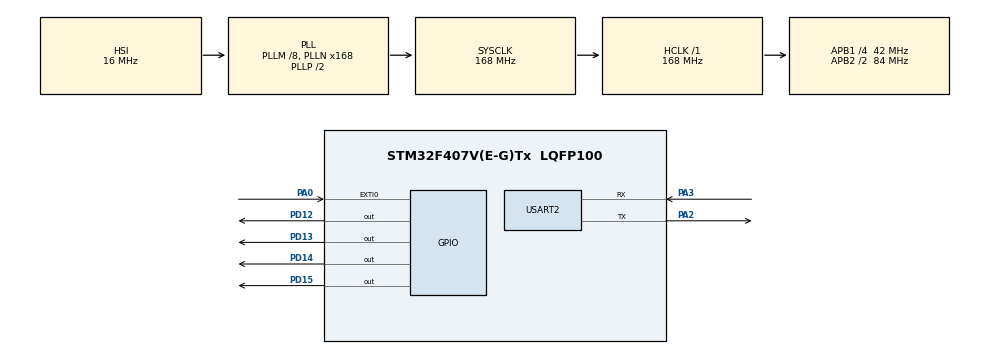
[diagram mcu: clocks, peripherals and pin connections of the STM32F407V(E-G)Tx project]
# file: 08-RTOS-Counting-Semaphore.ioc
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FREERTOS.CountingSemaphores01=CountingSem01,2,Dynamic,NULL,0
FREERTOS.Tasks01=Task1,24,128,StartTask1,Default,NULL,Dynamic,NULL,NULL;Task02,24,128,StartTask02,Default,NULL,Dynamic,NULL,NULL;Task03,24,128,StartTask03,Default,NULL,Dynamic,NULL,NULL
Mcu.Family=STM32F4
Mcu.Name=STM32F407V(E-G)Tx
Mcu.Package=LQFP100
NVIC.EXTI0_IRQn=true\:5\:0\:true\:false\:true\:false\:true\:true\:true
NVIC.PriorityGroup=NVIC_PRIORITYGROUP_4
NVIC.TIM6_DAC_IRQn=true\:15\:0\:false\:false\:true\:false\:false\:true\:true
NVIC.TimeBase=TIM6_DAC_IRQn
NVIC.TimeBaseIP=TIM6
PA0-WKUP.Signal=GPXTI0
PA2.Mode=Asynchronous
PA2.Signal=USART2_TX
PA3.Mode=Asynchronous
PA3.Signal=USART2_RX
PD12.Signal=GPIO_Output
PD13.Signal=GPIO_Output
PD14.Signal=GPIO_Output
PD15.Signal=GPIO_Output
PH0-OSC_IN.Mode=HSE-External-Oscillator
PH0-OSC_IN.Signal=RCC_OSC_IN
PH1-OSC_OUT.Mode=HSE-External-Oscillator
PH1-OSC_OUT.Signal=RCC_OSC_OUT
ProjectManager.HeapSize=0x200
ProjectManager.StackSize=0x400
ProjectManager.TargetToolchain=STM32CubeIDE
RCC.48MHZClocksFreq_Value=48000000
RCC.AHBFreq_Value=168000000
RCC.APB1CLKDivider=RCC_HCLK_DIV4
RCC.APB1Freq_Value=42000000
RCC.APB1TimFreq_Value=84000000
RCC.APB2CLKDivider=RCC_HCLK_DIV2
RCC.APB2Freq_Value=84000000
RCC.APB2TimFreq_Value=168000000
RCC.CortexFreq_Value=168000000
RCC.HCLKFreq_Value=168000000
RCC.HSE_VALUE=8000000
RCC.HSI_VALUE=16000000
RCC.PLLM=8
RCC.PLLN=168
RCC.PLLQ=7
RCC.SYSCLKFreq_VALUE=168000000
RCC.SYSCLKSource=RCC_SYSCLKSOURCE_PLLCLK
RCC.VCOOutputFreq_Value=336000000
USART2.VirtualMode=VM_ASYNC
VP_FREERTOS_VS_CMSIS_V2.Mode=CMSIS_V2
VP_SYS_VS_tim6.Mode=TIM6
board=STM32F407G-DISC1

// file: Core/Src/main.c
/* USER CODE BEGIN Header */
/**
  ******************************************************************************
  * @file           : main.c
  * @brief          : Main program body
  ******************************************************************************
  * @attention
  *
  * Copyright (c) 2026 STMicroelectronics.
  * All rights reserved.
  *
  * This software is licensed under terms that can be found in the LICENSE file
  * in the root directory of this software component.
  * If no LICENSE file comes with this software, it is provided AS-IS.
  *
  ******************************************************************************
  */
/* USER CODE END Header */
#include "main.h"
#include "cmsis_os.h"

/* USER CODE BEGIN Includes */
#include "stdio.h"
#include "string.h"
/* USER CODE END Includes */

UART_HandleTypeDef huart2;

/* Definitions for Task1 */
osThreadId_t Task1Handle;
const osThreadAttr_t Task1_attributes = {
  .name = "Task1",
  .stack_size = 128 * 4,
  .priority = (osPriority_t) osPriorityNormal,
};
/* Definitions for Task02 */
osThreadId_t Task02Handle;
const osThreadAttr_t Task02_attributes = {
  .name = "Task02",
  .stack_size = 128 * 4,
  .priority = (osPriority_t) osPriorityNormal,
};
/* Definitions for Task03 */
osThreadId_t Task03Handle;
const osThreadAttr_t Task03_attributes = {
  .name = "Task03",
  .stack_size = 128 * 4,
  .priority = (osPriority_t) osPriorityNormal,
};
/* Definitions for CountingSem01 */
osSemaphoreId_t CountingSem01Handle;
const osSemaphoreAttr_t CountingSem01_attributes = {
  .name = "CountingSem01"
};

void SystemClock_Config(void);
static void MX_GPIO_Init(void);
static void MX_USART2_UART_Init(void);
void StartTask1(void *argument);
void StartTask02(void *argument);
void StartTask03(void *argument);

/* USER CODE BEGIN 0 */
void send_uart(char *str){
	osSemaphoreWait(CountingSem01Handle, osWaitForever);
	osDelay(2000);
	HAL_UART_Transmit(&huart2, (uint8_t*)str, strlen(str), HAL_MAX_DELAY);
	osSemaphoreRelease(CountingSem01Handle);
}

int _write(int file, char *ptr, int len)
{
    for (int i = 0; i < len; i++)
    {
        ITM_SendChar((*ptr++));
    }
    return len;
}
/* USER CODE END 0 */

int main(void)
{

  /* MCU Configuration--------------------------------------------------------*/

  /* Reset of all peripherals, Initializes the Flash interface and the Systick. */
  HAL_Init();

  /* Configure the system clock */
  SystemClock_Config();

  /* Initialize all configured peripherals */
  MX_GPIO_Init();
  MX_USART2_UART_Init();

  /* Init scheduler */
  osKernelInitialize();

  /* Create the semaphores(s) */
  /* creation of CountingSem01 */
  CountingSem01Handle = osSemaphoreNew(2, 0, &CountingSem01_attributes);

  /* Create the thread(s) */
  /* creation of Task1 */
  Task1Handle = osThreadNew(StartTask1, NULL, &Task1_attributes);

  /* creation of Task02 */
  Task02Handle = osThreadNew(StartTask02, NULL, &Task02_attributes);

  /* creation of Task03 */
  Task03Handle = osThreadNew(StartTask03, NULL, &Task03_attributes);

  /* Start scheduler */
  osKernelStart();

  /* We should never get here as control is now taken by the scheduler */

  /* Infinite loop */
  while (1)
  {

  }
}

void SystemClock_Config(void)
{
  RCC_OscInitTypeDef RCC_OscInitStruct = {0};
  RCC_ClkInitTypeDef RCC_ClkInitStruct = {0};

  /** Configure the main internal regulator output voltage
  */
  __HAL_RCC_PWR_CLK_ENABLE();
  __HAL_PWR_VOLTAGESCALING_CONFIG(PWR_REGULATOR_VOLTAGE_SCALE1);

  /** Initializes the RCC Oscillators according to the specified parameters
  * in the RCC_OscInitTypeDef structure.
  */
  RCC_OscInitStruct.OscillatorType = RCC_OSCILLATORTYPE_HSI;
  RCC_OscInitStruct.HSIState = RCC_HSI_ON;
  RCC_OscInitStruct.HSICalibrationValue = RCC_HSICALIBRATION_DEFAULT;
  RCC_OscInitStruct.PLL.PLLState = RCC_PLL_ON;
  RCC_OscInitStruct.PLL.PLLSource = RCC_PLLSOURCE_HSI;
  RCC_OscInitStruct.PLL.PLLM = 8;
  RCC_OscInitStruct.PLL.PLLN = 168;
  RCC_OscInitStruct.PLL.PLLP = RCC_PLLP_DIV2;
  RCC_OscInitStruct.PLL.PLLQ = 7;
  if (HAL_RCC_OscConfig(&RCC_OscInitStruct) != HAL_OK)
  {
    Error_Handler();
  }

  /** Initializes the CPU, AHB and APB buses clocks
  */
  RCC_ClkInitStruct.ClockType = RCC_CLOCKTYPE_HCLK|RCC_CLOCKTYPE_SYSCLK
                              |RCC_CLOCKTYPE_PCLK1|RCC_CLOCKTYPE_PCLK2;
  RCC_ClkInitStruct.SYSCLKSource = RCC_SYSCLKSOURCE_PLLCLK;
  RCC_ClkInitStruct.AHBCLKDivider = RCC_SYSCLK_DIV1;
  RCC_ClkInitStruct.APB1CLKDivider = RCC_HCLK_DIV4;
  RCC_ClkInitStruct.APB2CLKDivider = RCC_HCLK_DIV2;

  if (HAL_RCC_ClockConfig(&RCC_ClkInitStruct, FLASH_LATENCY_5) != HAL_OK)
  {
    Error_Handler();
  }
}

static void MX_USART2_UART_Init(void)
{

  huart2.Instance = USART2;
  huart2.Init.BaudRate = 115200;
  huart2.Init.WordLength = UART_WORDLENGTH_8B;
  huart2.Init.StopBits = UART_STOPBITS_1;
  huart2.Init.Parity = UART_PARITY_NONE;
  huart2.Init.Mode = UART_MODE_TX_RX;
  huart2.Init.HwFlowCtl = UART_HWCONTROL_NONE;
  huart2.Init.OverSampling = UART_OVERSAMPLING_16;
  if (HAL_UART_Init(&huart2) != HAL_OK)
  {
    Error_Handler();
  }

}

static void MX_GPIO_Init(void)
{
  GPIO_InitTypeDef GPIO_InitStruct = {0};

  /* GPIO Ports Clock Enable */
  __HAL_RCC_GPIOH_CLK_ENABLE();
  __HAL_RCC_GPIOA_CLK_ENABLE();
  __HAL_RCC_GPIOD_CLK_ENABLE();

  /*Configure GPIO pin Output Level */
  HAL_GPIO_WritePin(GPIOD, GPIO_PIN_12|GPIO_PIN_13|GPIO_PIN_14|GPIO_PIN_15, GPIO_PIN_RESET);

  /*Configure GPIO pin : PA0 */
  GPIO_InitStruct.Pin = GPIO_PIN_0;
  GPIO_InitStruct.Mode = GPIO_MODE_IT_RISING;
  GPIO_InitStruct.Pull = GPIO_NOPULL;
  HAL_GPIO_Init(GPIOA, &GPIO_InitStruct);

  /*Configure GPIO pins : PD12 PD13 PD14 PD15 */
  GPIO_InitStruct.Pin = GPIO_PIN_12|GPIO_PIN_13|GPIO_PIN_14|GPIO_PIN_15;
  GPIO_InitStruct.Mode = GPIO_MODE_OUTPUT_PP;
  GPIO_InitStruct.Pull = GPIO_NOPULL;
  GPIO_InitStruct.Speed = GPIO_SPEED_FREQ_LOW;
  HAL_GPIO_Init(GPIOD, &GPIO_InitStruct);

  /* EXTI interrupt init*/
  HAL_NVIC_SetPriority(EXTI0_IRQn, 5, 0);
  HAL_NVIC_EnableIRQ(EXTI0_IRQn);

}

/* USER CODE BEGIN 4 */
void HAL_GPIO_EXTI_Callback(uint16_t GPIO_Pin)
{
	printf("Wall Maria has Raised\r\n");
	osSemaphoreRelease(CountingSem01Handle);
}
/* USER CODE END 4 */

void StartTask1(void *argument)
{
  /* USER CODE BEGIN 5 */
  /* Infinite loop */
  for(;;)
  {
	  printf("Yo Task 1 : Anurag Entered\r\n");
	  osDelay(5000);
	//  HAL_UART_Transmit(&huart2, (uint8_t*)str, strlen(str),  HAL_MAX_DELAY);
	  osSemaphoreRelease(CountingSem01Handle);
  }
  /* USER CODE END 5 */
}

void StartTask02(void *argument)
{
  /* USER CODE BEGIN StartTask02 */
  /* Infinite loop */
  for(;;)
  {
	  	  printf("Yo Task 2 : Levi Entered\r\n");
	  	  osDelay(5000);
	  	//  HAL_UART_Transmit(&huart2, (uint8_t*)str, strlen(str),  HAL_MAX_DELAY);
	  	  osSemaphoreRelease(CountingSem01Handle);
  }
  /* USER CODE END StartTask02 */
}

void StartTask03(void *argument)
{
  /* USER CODE BEGIN StartTask03 */
  /* Infinite loop */
  for(;;)
  {
	osSemaphoreAcquire(CountingSem01Handle, 3000);
	osSemaphoreAcquire(CountingSem01Handle, 3000);
    printf("Yo Task3: Eren Yeager Entered\r\n");
   // HAL_UART_Transmit(&huart2, (uint8_t*)str, strlen(str),  HAL_MAX_DELAY);
  }
  /* USER CODE END StartTask03 */
}

void HAL_TIM_PeriodElapsedCallback(TIM_HandleTypeDef *htim)
{
  if (htim->Instance == TIM6)
  {
    HAL_IncTick();
  }
}

void Error_Handler(void)
{
  __disable_irq();
  while (1)
  {
  }
}
